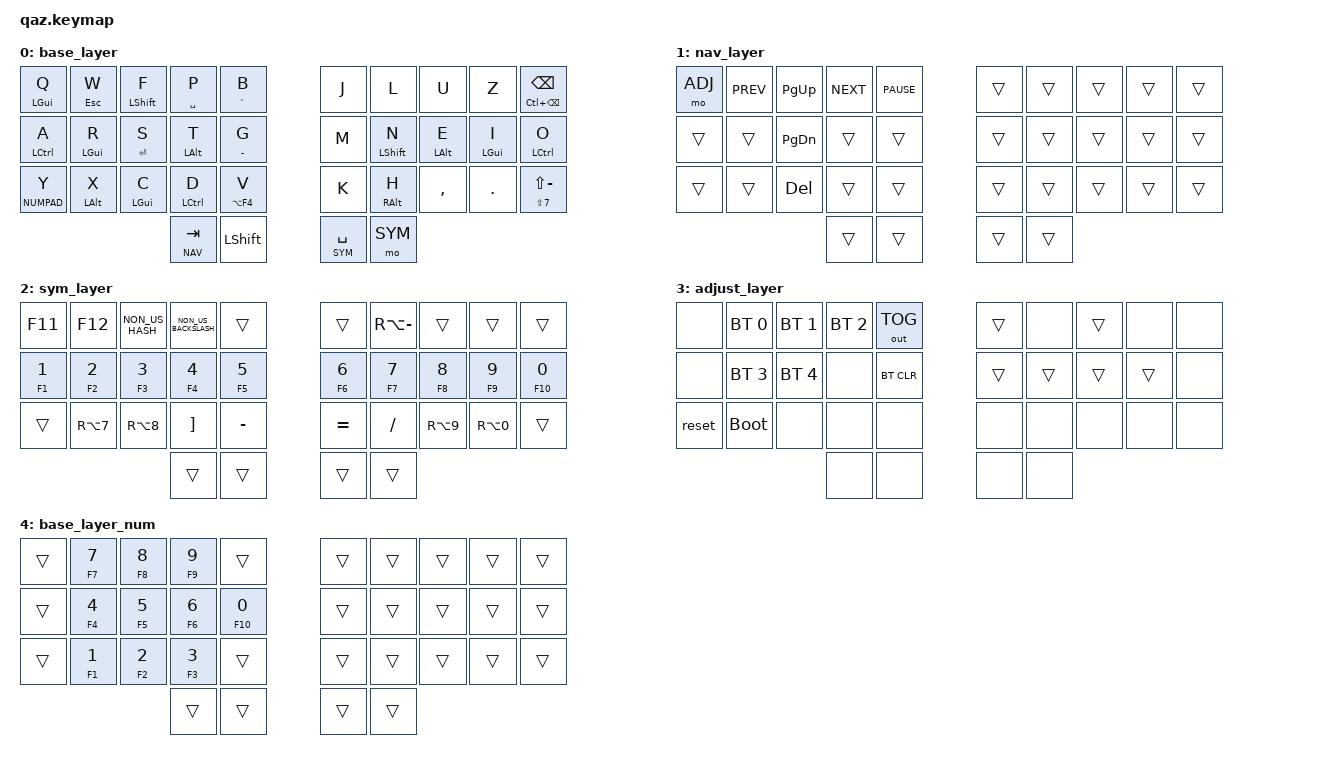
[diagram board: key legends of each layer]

#include <behaviors.dtsi>
#include <dt-bindings/zmk/keys.h>
#include <dt-bindings/zmk/bt.h>
#include <dt-bindings/zmk/outputs.h>



#define XXX &none
#define ___ &trans

#define BASE 0
#define NAV 1
#define SYM 2
#define ADJ 3
#define NUMPAD 4
//german keyboard layout
/ {
//test

 combos {
#include "combos.dtsi"
 };

  behaviors {



 hm: homerow_mods {
            compatible = "zmk,behavior-hold-tap";
            label = "HOMEROW_MODS";
            #binding-cells = <2>;
            tapping-term-ms = <150>;
            quick_tap_ms = <0>;
            flavor = "tap-preferred";
            bindings = <&kp>, <&kp>;
        };

      hm1: homerow_mods1 {
            compatible = "zmk,behavior-hold-tap";
            label = "hm1";
            #binding-cells = <2>;
            tapping_term_ms = <200>;
            flavor = "tap-preferred";
            bindings = <&kp>, <&kp>;
        };

    
  };

  keymap {
    compatible = "zmk,keymap";

    base_layer {
      bindings = <
        // ╭─────────────┬─────────────┬─────────────┬─────────────┬─────────────╮   ╭─────────────┬─────────────┬─────────────┬─────────────┬─────────────╮
             &hm LGUI Q   &hm ESC W   &hm LSHFT F    &hm SPACE P   &hm GRAVE B             &kp J        &kp L        &kp U         &kp Z       &hm LC(BSPC) BSPC
        // ├─────────────┼────────────s ─┼─────────────┼─────────────┼─────────────┤   ├─────────────┼─────────────┼─────────────┼─────────────┼─────────────┤
             &hm LCTRL A    &hm LGUI R          &hm RET S    &hm LALT T   &hm MINUS G         &kp M   &hm LSHFT N    &hm LALT E   &hm LGUI I     &hm1 LCTRL O
        // ├─────────────┼─────────────┼─────────────┼─────────────┼─────────────┤   ├─────────────┼─────────────┼─────────────┼─────────────┼─────────────┤
             &lt NUMPAD Y    &hm LALT X         &hm LGUI C       &hm LCTRL D     &hm LA(F4) V             &kp K         &hm RALT H        &kp COMMA     &kp DOT     &hm LS(N7) LS(MINUS)
        // ╰─────────────┴─────────────┴─────────────┼─────────────┼─────────────┤   ├─────────────┼─────────────┼─────────────┴─────────────┴─────────────╯
                                                           &lt NAV TAB   &kp LSHFT      &lt SYM SPC     &mo SYM
        //                                           ╰─────────────┴─────────────╯   ╰─────────────┴─────────────╯
      >;
    };

    nav_layer {
      bindings = <
        // ╭─────────────┬─────────────┬─────────────┬─────────────┬─────────────╮   ╭─────────────┬─────────────┬─────────────┬─────────────┬─────────────╮
             &mo ADJ      &kp C_PREV    &kp PG_UP      &kp C_NEXT   &kp C_PAUSE           ___               ___           ___        ___          ___
        // ├─────────────┼─────────────┼─────────────┼─────────────┼─────────────┤   ├─────────────┼─────────────┼─────────────┼─────────────┼─────────────┤
             ___                ___         &kp PG_DN       ___           ___           ___            ___            ___        ___            ___
        // ├─────────────┼─────────────┼─────────────┼─────────────┼─────────────┤   ├─────────────┼─────────────┼─────────────┼─────────────┼─────────────┤
             ___           ___               &kp DEL             ___      ___               ___           ___    ___         ___          ___
        // ╰─────────────┴─────────────┴─────────────┼─────────────┼─────────────┤   ├─────────────┼─────────────┼─────────────┴─────────────┴─────────────╯
                                                       ___           ___               ___      ___
        //                                           ╰─────────────┴─────────────╯   ╰─────────────┴─────────────╯
      >;
    };

    sym_layer {
      bindings = <
        // ╭─────────────┬─────────────┬─────────────┬─────────────┬─────────────╮   ╭─────────────┬─────────────┬─────────────┬─────────────┬─────────────╮
             &kp F11        &kp F12    &kp NON_US_HASH   &kp NON_US_BACKSLASH   ___       ___           &kp RA(MINUS)        ___        ___        ___
        // ├─────────────┼─────────────┼─────────────┼─────────────┼─────────────┤   ├─────────────┼─────────────┼─────────────┼─────────────┼─────────────┤
             &hm F1 N1     &hm F2 N2    &hm F3 N3      &hm F4 N4     &hm F5 N5           &hm F6 N6      &hm F7 N7    &hm F8 N8    &hm F9 N9     &hm F10 N0
        // ├─────────────┼─────────────┼─────────────┼─────────────┼─────────────┤   ├─────────────┼─────────────┼─────────────┼─────────────┼─────────────┤
             ___            &kp RA(N7)    &kp RA(N8)    &kp RBKT      &kp MINUS            &kp EQUAL     &kp SLASH     &kp RA(N9)    &kp RA(N0)           ___
        // ╰─────────────┴─────────────┴─────────────┼─────────────┼─────────────┤   ├─────────────┼─────────────┼─────────────┴─────────────┴─────────────╯
                                                       ___           ___               ___           ___
        //                                           ╰─────────────┴─────────────╯   ╰─────────────┴─────────────╯
      >;
    };

    adjust_layer {
      bindings = <
        // ╭─────────────┬─────────────┬─────────────┬─────────────┬─────────────╮   ╭─────────────┬─────────────┬─────────────┬─────────────┬─────────────╮
             XXX           &bt BT_SEL 0    &bt BT_SEL 1    &bt BT_SEL 2    &out OUT_TOG      ___  XXX           ___  XXX           XXX
        // ├─────────────┼─────────────┼─────────────┼─────────────┼─────────────┤   ├─────────────┼─────────────┼─────────────┼─────────────┼─────────────┤
             XXX           &bt BT_SEL 3   &bt BT_SEL 4     XXX         &bt BT_CLR      ___  ___    ___  ___    XXX
        // ├─────────────┼─────────────┼─────────────┼─────────────┼─────────────┤   ├─────────────┼─────────────┼─────────────┼─────────────┼─────────────┤
             &reset               &bootloader              XXX           XXX           XXX        XXX           XXX           XXX           XXX           XXX
        // ╰─────────────┴─────────────┴─────────────┼─────────────┼─────────────┤   ├─────────────┼─────────────┼─────────────┴─────────────┴─────────────╯
                                                       XXX           XXX               XXX           XXX
        //                                           ╰─────────────┴─────────────╯   ╰─────────────┴─────────────╯
      >;
    };

    base_layer_num {
      bindings = <
        // ╭─────────────┬─────────────┬─────────────┬─────────────┬─────────────╮   ╭─────────────┬─────────────┬─────────────┬─────────────┬─────────────╮
             ___           &hm F7 N7           &hm F8 N8           &hm F9 N9           ___               ___           ___           ___           ___           ___
        // ├─────────────┼─────────────┼─────────────┼─────────────┼─────────────┤   ├─────────────┼─────────────┼─────────────┼─────────────┼─────────────┤
             ___           &hm F4 N4           &hm F5 N5           &hm F6 N6           &hm F10 N0        ___           ___           ___           ___           ___
        // ├─────────────┼─────────────┼─────────────┼─────────────┼─────────────┤   ├─────────────┼─────────────┼─────────────┼─────────────┼─────────────┤
             ___           &hm F1 N1           &hm F2 N2           &hm F3 N3           ___               ___           ___           ___           ___           ___
        // ╰─────────────┴─────────────┴─────────────┼─────────────┼─────────────┤   ├─────────────┼─────────────┼─────────────┴─────────────┴─────────────╯
                                                       ___           ___       ___           ___
        //                                           ╰─────────────┴─────────────╯   ╰─────────────┴─────────────╯
      >;
    };


  };
};
